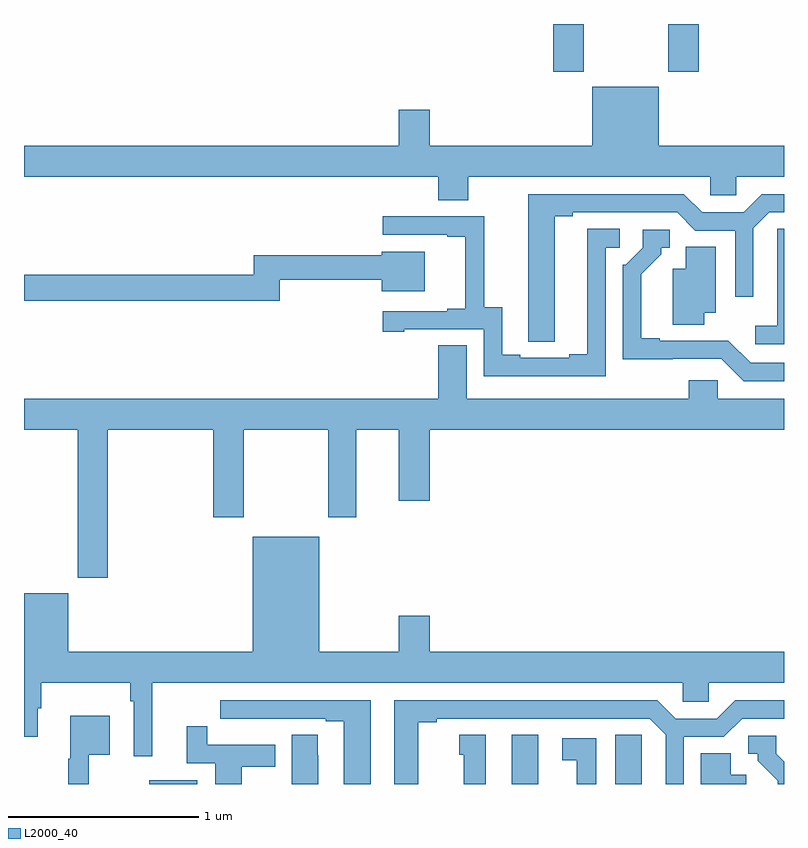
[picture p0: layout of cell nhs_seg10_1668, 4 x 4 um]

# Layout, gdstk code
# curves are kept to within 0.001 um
import gdstk
lib = gdstk.Library(unit=1e-6, precision=1e-09)
def R(c, l, rs):  # rectangles x0, y0, x1, y1
    for r in rs: c.add(gdstk.rectangle(r[:2], r[2:], *l))
def P(c, l, *ps):  # polygons
    for p in ps: c.add(gdstk.Polygon(p, *l))
L2000_40 = (2000, 40)

nhs_seg10_1668 = lib.new_cell('nhs_seg10_1668')
R(nhs_seg10_1668, L2000_40, [(199.658,1250.5,199.912,1250.521), (201.566,1250.5,201.706,1250.758), (201.785,1254.249,201.945,1254.5), (202.39,1254.249,202.55,1254.5)])
P(nhs_seg10_1668, L2000_40, [(201.339,1253.696),(202.611,1253.696),(202.611,1253.598),(202.749,1253.598),(202.749,1253.696),(203,1253.696),(203,1253.86),(202.342,1253.86),(202.342,1254.169),(201.992,1254.169),(201.992,1253.86),(201.136,1253.86),(201.136,1254.049),(200.972,1254.049),(200.972,1253.86),(199,1253.86),(199,1253.696),(201.179,1253.696),(201.179,1253.572),(201.339,1253.572)],
  [(201.793,1253.488),(201.889,1253.488),(201.889,1253.508),(202.437,1253.508),(202.533,1253.412),(202.743,1253.412),(202.743,1253.064),(202.839,1253.064),(202.839,1253.424),(202.923,1253.508),(203,1253.508),(203,1253.604),(202.883,1253.604),(202.787,1253.508),(202.569,1253.508),(202.473,1253.604),(201.653,1253.604),(201.654,1252.828),(201.793,1252.828)],
  [(202.062,1253.322),(202.135,1253.322),(202.135,1253.423),(201.965,1253.423),(201.965,1252.763),(201.869,1252.763),(201.869,1252.743),(201.613,1252.743),(201.613,1252.758),(201.517,1252.758),(201.517,1253.009),(201.423,1253.009),(201.423,1253.487),(200.889,1253.487),(200.889,1253.391),(201.227,1253.391),(201.227,1253.379),(201.323,1253.379),(201.323,1253.002),(201.227,1253.002),(201.227,1252.989),(200.889,1252.989),(200.889,1252.881),(201.001,1252.881),(201.001,1252.893),(201.42,1252.893),(201.42,1252.647),(202.062,1252.647)],
  [(203,1253.423),(202.965,1253.423),(202.965,1253.315),(202.964,1253.315),(202.964,1252.912),(202.848,1252.912),(202.848,1252.815),(203,1252.815)],
  [(203,1252.716),(202.824,1252.716),(202.706,1252.834),(202.345,1252.833),(202.345,1252.846),(202.249,1252.846),(202.249,1253.182),(202.354,1253.287),(202.354,1253.322),(202.399,1253.322),(202.399,1253.418),(202.257,1253.418),(202.257,1253.322),(202.167,1253.232),(202.152,1253.232),(202.152,1252.736),(202.671,1252.737),(202.788,1252.62),(203,1252.62)],
  [(202.579,1252.979),(202.642,1252.979),(202.642,1253.327),(202.484,1253.327),(202.484,1253.212),(202.415,1253.212),(202.415,1252.918),(202.579,1252.918)],
  [(200.345,1253.155),(200.882,1253.155),(200.882,1253.093),(201.109,1253.093),(201.109,1253.302),(200.882,1253.302),(200.882,1253.284),(200.209,1253.284),(200.209,1253.18),(199,1253.18),(199,1253.044),(200.345,1253.044)],
  [(199.442,1252.364),(199.997,1252.364),(199.997,1251.903),(200.157,1251.903),(200.157,1252.364),(200.602,1252.364),(200.602,1251.903),(200.749,1251.903),(200.749,1252.364),(200.972,1252.364),(200.972,1251.99),(201.136,1251.99),(201.136,1252.364),(203,1252.364),(203,1252.528),(202.65,1252.528),(202.65,1252.626),(202.499,1252.626),(202.499,1252.528),(201.331,1252.528),(201.331,1252.808),(201.179,1252.808),(201.179,1252.528),(199,1252.528),(199,1252.364),(199.282,1252.364),(199.282,1251.585),(199.442,1251.585)],
  [(199.676,1251.032),(202.467,1251.032),(202.467,1250.934),(202.605,1250.934),(202.605,1251.032),(203,1251.032),(203,1251.196),(201.136,1251.196),(201.136,1251.385),(200.972,1251.385),(200.972,1251.196),(200.554,1251.196),(200.554,1251.802),(200.204,1251.802),(200.204,1251.196),(199.234,1251.196),(199.234,1251.505),(199,1251.505),(199,1250.748),(199.072,1250.748),(199.072,1250.898),(199.091,1250.898),(199.091,1251.032),(199.558,1251.032),(199.558,1250.936),(199.578,1250.936),(199.578,1250.646),(199.676,1250.646)],
  [(201.076,1250.824),(201.172,1250.824),(201.172,1250.844),(202.293,1250.844),(202.377,1250.76),(202.377,1250.5),(202.473,1250.5),(202.473,1250.748),(202.683,1250.748),(202.779,1250.844),(203,1250.844),(203,1250.94),(202.743,1250.94),(202.647,1250.844),(202.429,1250.844),(202.333,1250.94),(200.948,1250.94),(200.948,1250.5),(201.076,1250.5)],
  [(200.824,1250.94),(200.034,1250.94),(200.034,1250.844),(200.146,1250.844),(200.146,1250.843),(200.312,1250.843),(200.312,1250.844),(200.588,1250.844),(200.588,1250.829),(200.684,1250.829),(200.684,1250.5),(200.824,1250.5)],
  [(199.341,1250.654),(199.45,1250.654),(199.45,1250.86),(199.244,1250.86),(199.244,1250.634),(199.233,1250.634),(199.233,1250.5),(199.341,1250.5)],
  [(200.146,1250.59),(200.323,1250.59),(200.323,1250.706),(199.964,1250.706),(199.964,1250.803),(199.856,1250.803),(199.856,1250.61),(200.006,1250.61),(200.006,1250.5),(200.146,1250.5)],
  [(202.252,1250.651),(202.251,1250.651),(202.251,1250.759),(202.112,1250.759),(202.112,1250.5),(202.252,1250.5)],
  [(200.548,1250.651),(200.547,1250.651),(200.547,1250.759),(200.408,1250.759),(200.408,1250.5),(200.548,1250.5)],
  [(201.43,1250.758),(201.29,1250.758),(201.29,1250.655),(201.314,1250.655),(201.314,1250.5),(201.43,1250.5)],
  [(203,1250.617),(202.959,1250.658),(202.959,1250.754),(202.812,1250.754),(202.812,1250.658),(202.862,1250.658),(202.862,1250.623),(202.967,1250.518),(202.967,1250.5),(203,1250.5)],
  [(202.012,1250.742),(201.834,1250.742),(201.834,1250.626),(201.908,1250.626),(201.908,1250.5),(202.012,1250.5)],
  [(202.801,1250.548),(202.72,1250.548),(202.72,1250.663),(202.562,1250.663),(202.562,1250.5),(202.801,1250.5)])

lib.write_gds('nhs_seg10_1668.gds')
